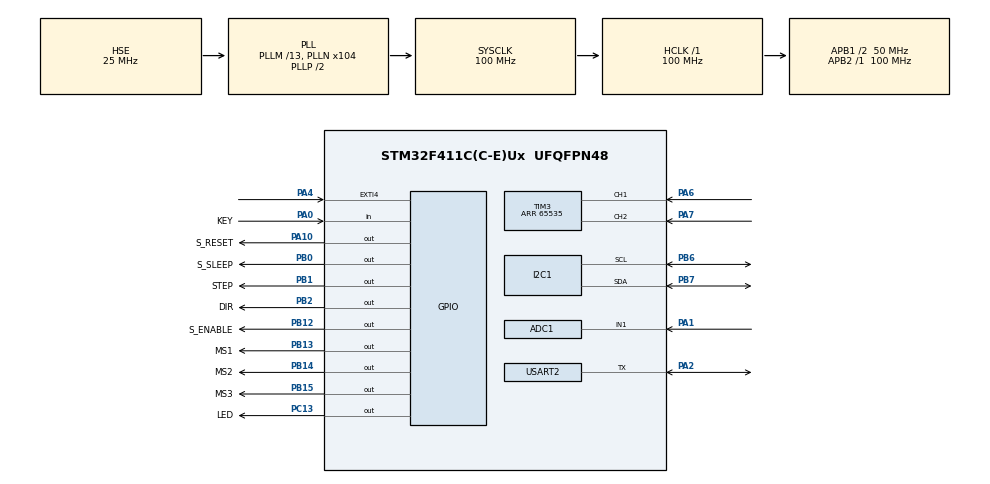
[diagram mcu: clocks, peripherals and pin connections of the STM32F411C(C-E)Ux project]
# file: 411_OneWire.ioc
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ADC1.Channel-0\#ChannelRegularConversion=ADC_CHANNEL_1
ADC1.NbrOfConversionFlag=1
ADC1.Rank-0\#ChannelRegularConversion=1
ADC1.SamplingTime-0\#ChannelRegularConversion=ADC_SAMPLETIME_3CYCLES
ADC1.master=1
I2C1.I2C_Mode=I2C_Fast
Mcu.Family=STM32F4
Mcu.Name=STM32F411C(C-E)Ux
Mcu.Package=UFQFPN48
NVIC.EXTI4_IRQn=true\:0\:0\:false\:false\:true\:true\:true\:true
NVIC.PriorityGroup=NVIC_PRIORITYGROUP_4
NVIC.TIM3_IRQn=true\:0\:0\:false\:false\:true\:true\:true\:true
NVIC.USART2_IRQn=true\:0\:0\:false\:false\:true\:true\:true\:true
PA0-WKUP.GPIO_Label=KEY
PA0-WKUP.Signal=GPIO_Input
PA1.Signal=ADCx_IN1
PA10.GPIO_Label=S_RESET
PA10.Signal=GPIO_Output
PA13.Mode=Serial_Wire
PA13.Signal=SYS_JTMS-SWDIO
PA14.Mode=Serial_Wire
PA14.Signal=SYS_JTCK-SWCLK
PA2.Mode=Half_duplex(single_wire_mode)
PA2.Signal=USART2_TX
PA4.GPIO_ModeDefaultEXTI=GPIO_MODE_IT_FALLING
PA4.Signal=GPXTI4
PA6.Signal=S_TIM3_CH1
PA7.Signal=S_TIM3_CH2
PB0.GPIO_Label=S_SLEEP
PB0.Signal=GPIO_Output
PB1.GPIO_Label=STEP
PB1.Signal=GPIO_Output
PB12.GPIO_Label=S_ENABLE
PB12.Signal=GPIO_Output
PB13.GPIO_Label=MS1
PB13.Signal=GPIO_Output
PB14.GPIO_Label=MS2
PB14.Signal=GPIO_Output
PB15.GPIO_Label=MS3
PB15.Signal=GPIO_Output
PB2.GPIO_Label=DIR
PB2.Signal=GPIO_Output
PB3.Signal=SYS_JTDO-SWO
PB4.Signal=SYS_JTRST
PB6.Mode=I2C
PB6.Signal=I2C1_SCL
PB7.Mode=I2C
PB7.Signal=I2C1_SDA
PC13-ANTI_TAMP.GPIO_Label=LED
PC13-ANTI_TAMP.Signal=GPIO_Output
PC14-OSC32_IN.Mode=LSE-External-Oscillator
PC14-OSC32_IN.Signal=RCC_OSC32_IN
PC15-OSC32_OUT.Mode=LSE-External-Oscillator
PC15-OSC32_OUT.Signal=RCC_OSC32_OUT
PH0\ -\ OSC_IN.Mode=HSE-External-Oscillator
PH0\ -\ OSC_IN.Signal=RCC_OSC_IN
PH1\ -\ OSC_OUT.Mode=HSE-External-Oscillator
PH1\ -\ OSC_OUT.Signal=RCC_OSC_OUT
ProjectManager.HeapSize=0x200
ProjectManager.StackSize=0x400
ProjectManager.TargetToolchain=STM32CubeIDE
RCC.48MHZClocksFreq_Value=50000000
RCC.AHBFreq_Value=100000000
RCC.APB1CLKDivider=RCC_HCLK_DIV2
RCC.APB1Freq_Value=50000000
RCC.APB1TimFreq_Value=100000000
RCC.APB2Freq_Value=100000000
RCC.APB2TimFreq_Value=100000000
RCC.CortexFreq_Value=100000000
RCC.HCLKFreq_Value=100000000
RCC.HSE_VALUE=25000000
RCC.HSI_VALUE=16000000
RCC.PLLM=13
RCC.PLLN=104
RCC.PLLSourceVirtual=RCC_PLLSOURCE_HSE
RCC.SYSCLKFreq_VALUE=100000000
RCC.SYSCLKSource=RCC_SYSCLKSOURCE_PLLCLK
RCC.VCOOutputFreq_Value=200000000
SH.ADCx_IN1.0=ADC1_IN1,IN1
SH.S_TIM3_CH1.0=TIM3_CH1,Encoder_Interface
SH.S_TIM3_CH2.0=TIM3_CH2,Encoder_Interface
TIM3.AutoReloadPreload=TIM_AUTORELOAD_PRELOAD_ENABLE
TIM3.IC1Filter=2
TIM3.Period=65535
USART2.VirtualMode=VM_ASYNC
board=custom

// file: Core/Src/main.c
/* USER CODE BEGIN Header */
/**

TODO:
-	iButton interface

Vmot remeasured on PA1 named ADC1_IN1

field feedback measured on PA2 named ADC_IN2

OLED SSD1306
	Resolution: 128 x 64
	Input Voltage: 3.3V ~ 6V
	SDA on PB7 named I2C1_SDA
	SCL on PB6 named I2C1_SCL

BlackPill onboard Blue LED on PC13 named LED

BlackPill onboard button on PA0 named KEY

Optical encoder
	channel one on PA6 named TIM3_CH1
	channel two on PA7 named TIM3_CH2

A4988 stepper motor driver with chopping killed
	S_ENABLE	on	PB12
	MS1			on	PB13
	MS2			on	PB14
	MS3			on	PB15
	S_RESET		on	PA10
	S_SLEEP		on	B0
	STEP		on	B1
	DIR			on	B2
	The step limit is in the "counter_limit" constant.

1-Wire interface on USART2
	OW	on 	PA2	named	USART2_TX
	SN: 01/0000129A55D6/F3

RS232 on
	tx	on  PA11	named USART6_TX
	rx	on  PA12	named USART6_RX

OneWire timing
standard / overdrive
A 6 / 1.0
B 64 / 7.5
C 60 / 7.5
D 10 / 2.5
E 9 / 1.0
F 55 / 7
G 0 / 2.5
H 480 / 70
I 70 / 8.5
J 410 / 40

  */
/* USER CODE END Header */
#include "main.h"

/* USER CODE BEGIN Includes */
#include "ssd1306.h"
#include "fonts.h"
#include "test.h"
#include "stdio.h"
#include "OneWire.h"
/* USER CODE END Includes */

ADC_HandleTypeDef hadc1;

I2C_HandleTypeDef hi2c1;

TIM_HandleTypeDef htim3;

UART_HandleTypeDef huart2;

/* USER CODE BEGIN PV */

OledHandleTypedef oled = {
  .type = SH1106_I2C,        // SH1106 or SSD1306
  .orientation = 1,           // 1: downward 0: upward
  .i2c = &hi2c1,              // I2C1 at RB9/RB8
  .i2c_address = 0x78         // 0x78 (0x3c<<1) or 0x7A (0x3D<<1)
};

uint16_t size;
uint8_t Data[256];
int count=0;
int motor_position =0;
char text[10] = "empty",spi_out_buf[10]="",spi_in_buf[10]="";
int raw;
float voltage;
uint32_t counter = 0;
int16_t counter_position = 0;
uint32_t us_delay = 0;
const int counter_limit=15300; // put maximum counter value here
int rec_rom_id;

/* USER CODE END PV */

void SystemClock_Config(void);
static void MX_GPIO_Init(void);
static void MX_I2C1_Init(void);
static void MX_ADC1_Init(void);
static void MX_TIM3_Init(void);
static void MX_USART2_UART_Init(void);

/* USER CODE BEGIN 0 */
extern float Temp[MAXDEVICES_ON_THE_BUS];

void HAL_TIM_IC_CaptureCallback (TIM_HandleTypeDef *htim)
{
	counter = __HAL_TIM_GET_COUNTER(htim) / 2;
	if (counter > 30000)
	{
		__HAL_TIM_SetCounter(&htim3,0);
		counter=0;
	}
	if (counter > counter_limit)
	{
		__HAL_TIM_SetCounter(&htim3, counter_limit * 2);
		counter=counter_limit;
	}
	counter_position = (int16_t)counter;
}
/* USER CODE END 0 */

int main(void)
{

  /* MCU Configuration--------------------------------------------------------*/

  /* Reset of all peripherals, Initializes the Flash interface and the Systick. */
  HAL_Init();

  /* Configure the system clock */
  SystemClock_Config();

  /* Initialize all configured peripherals */
  MX_GPIO_Init();
  MX_I2C1_Init();
  MX_ADC1_Init();
  MX_TIM3_Init();
  MX_USART2_UART_Init();
  /* USER CODE BEGIN 2 */

  HAL_TIM_Encoder_Start_IT (&htim3, TIM_CHANNEL_ALL   );
  /* Initialize stepper motor controller */
  HAL_GPIO_WritePin(MS1_GPIO_Port, MS1_Pin, GPIO_PIN_RESET); // set high for half step
  HAL_GPIO_WritePin(MS2_GPIO_Port, MS2_Pin, GPIO_PIN_RESET); // set for microstep
  HAL_GPIO_WritePin(MS3_GPIO_Port, MS3_Pin, GPIO_PIN_RESET); // set for microstep
  HAL_GPIO_WritePin(S_SLEEP_GPIO_Port, S_SLEEP_Pin, GPIO_PIN_SET);
  HAL_GPIO_WritePin(S_ENABLE_GPIO_Port, S_ENABLE_Pin, GPIO_PIN_SET);
  HAL_GPIO_WritePin(STEP_GPIO_Port, STEP_Pin, GPIO_PIN_SET);
  HAL_GPIO_WritePin(DIR_GPIO_Port, DIR_Pin, GPIO_PIN_SET);
  HAL_GPIO_WritePin(S_RESET_GPIO_Port, S_RESET_Pin, GPIO_PIN_RESET);
  HAL_Delay(100);
  HAL_GPIO_WritePin(S_RESET_GPIO_Port, S_RESET_Pin, GPIO_PIN_SET);

// OLED init
  SSD1306_Init(&oled);
  SSD1306_GotoXY(0, 0);
  SSD1306_Puts("SH1106", &Font_11x18, SSD1306_COLOR_WHITE);
  HAL_ADC_Start(&hadc1);
  HAL_ADC_PollForConversion(&hadc1, HAL_MAX_DELAY);
  raw = HAL_ADC_GetValue(&hadc1);
  voltage = raw /  187.3 ; // Umcu = 3.375V
  sprintf(text, "%1.2f", voltage);
  SSD1306_GotoXY (0, 20);
  SSD1306_Puts (text, &Font_11x18, 1);
  SSD1306_Puts ("V", &Font_11x18, 1);
//  SSD1306_dim(127);
  SSD1306_UpdateScreen(); // update screen
  HAL_Delay(1000);

  /* USER CODE END 2 */

  /* Infinite loop */
  while (1)
  {

    /* USER CODE BEGIN 3 */
	  HAL_GPIO_WritePin(LED_GPIO_Port, LED_Pin, GPIO_PIN_SET);
	  while (motor_position != counter_position)
	  {
		  HAL_GPIO_WritePin(S_ENABLE_GPIO_Port, S_ENABLE_Pin, GPIO_PIN_RESET);
		  HAL_GPIO_WritePin(LED_GPIO_Port, LED_Pin, GPIO_PIN_RESET);
		  if (motor_position < counter_position)
		  {

			  HAL_GPIO_WritePin(DIR_GPIO_Port, DIR_Pin, GPIO_PIN_SET);
			  HAL_GPIO_WritePin(STEP_GPIO_Port, STEP_Pin, GPIO_PIN_SET);
			  motor_position = motor_position + 1 ;
			  HAL_GPIO_WritePin(STEP_GPIO_Port, STEP_Pin, GPIO_PIN_RESET);
			  us_delay = 7500;
			  while (us_delay) { us_delay = us_delay - 1;}
		  }
		  else
		  {

			  HAL_GPIO_WritePin(DIR_GPIO_Port, DIR_Pin, GPIO_PIN_RESET);
			  HAL_GPIO_WritePin(STEP_GPIO_Port, STEP_Pin, GPIO_PIN_SET);
			  motor_position = motor_position - 1 ;
			  HAL_GPIO_WritePin(STEP_GPIO_Port, STEP_Pin, GPIO_PIN_RESET);
			  us_delay = 7500;
			  while (us_delay) { us_delay = us_delay - 1;}
		  }
		  HAL_GPIO_WritePin(LED_GPIO_Port, LED_Pin, GPIO_PIN_SET);
//		  HAL_GPIO_WritePin(S_ENABLE_GPIO_Port, S_ENABLE_Pin, GPIO_PIN_SET);
	  }

//	  sprintf(text, "%5i", counter_position);
//	  SSD1306_GotoXY(0, 30);
//	  SSD1306_Puts (text, &Font_11x18, 1);
//	  SSD1306_UpdateScreen();

	  rec_rom_id = get_ROMid();
	  SSD1306_Fill(0);
	  SSD1306_GotoXY(0, 0);
//	  sprintf(text, "%s %u", ow.ids);
	  //sprintf(textout1, "%s %u", name1, var1);
	  SSD1306_Puts (text, &Font_11x18, 1);
	  SSD1306_UpdateScreen();

	  HAL_Delay (1000);

  }
  /* USER CODE END 3 */
}

void SystemClock_Config(void)
{
  RCC_OscInitTypeDef RCC_OscInitStruct = {0};
  RCC_ClkInitTypeDef RCC_ClkInitStruct = {0};

  /** Configure the main internal regulator output voltage
  */
  __HAL_RCC_PWR_CLK_ENABLE();
  __HAL_PWR_VOLTAGESCALING_CONFIG(PWR_REGULATOR_VOLTAGE_SCALE1);

  /** Initializes the RCC Oscillators according to the specified parameters
  * in the RCC_OscInitTypeDef structure.
  */
  RCC_OscInitStruct.OscillatorType = RCC_OSCILLATORTYPE_HSE;
  RCC_OscInitStruct.HSEState = RCC_HSE_ON;
  RCC_OscInitStruct.PLL.PLLState = RCC_PLL_ON;
  RCC_OscInitStruct.PLL.PLLSource = RCC_PLLSOURCE_HSE;
  RCC_OscInitStruct.PLL.PLLM = 13;
  RCC_OscInitStruct.PLL.PLLN = 104;
  RCC_OscInitStruct.PLL.PLLP = RCC_PLLP_DIV2;
  RCC_OscInitStruct.PLL.PLLQ = 4;
  if (HAL_RCC_OscConfig(&RCC_OscInitStruct) != HAL_OK)
  {
    Error_Handler();
  }

  /** Initializes the CPU, AHB and APB buses clocks
  */
  RCC_ClkInitStruct.ClockType = RCC_CLOCKTYPE_HCLK|RCC_CLOCKTYPE_SYSCLK
                              |RCC_CLOCKTYPE_PCLK1|RCC_CLOCKTYPE_PCLK2;
  RCC_ClkInitStruct.SYSCLKSource = RCC_SYSCLKSOURCE_PLLCLK;
  RCC_ClkInitStruct.AHBCLKDivider = RCC_SYSCLK_DIV1;
  RCC_ClkInitStruct.APB1CLKDivider = RCC_HCLK_DIV2;
  RCC_ClkInitStruct.APB2CLKDivider = RCC_HCLK_DIV1;

  if (HAL_RCC_ClockConfig(&RCC_ClkInitStruct, FLASH_LATENCY_3) != HAL_OK)
  {
    Error_Handler();
  }
}

static void MX_ADC1_Init(void)
{

  ADC_ChannelConfTypeDef sConfig = {0};

  /** Configure the global features of the ADC (Clock, Resolution, Data Alignment and number of conversion)
  */
  hadc1.Instance = ADC1;
  hadc1.Init.ClockPrescaler = ADC_CLOCK_SYNC_PCLK_DIV4;
  hadc1.Init.Resolution = ADC_RESOLUTION_12B;
  hadc1.Init.ScanConvMode = DISABLE;
  hadc1.Init.ContinuousConvMode = DISABLE;
  hadc1.Init.DiscontinuousConvMode = DISABLE;
  hadc1.Init.ExternalTrigConvEdge = ADC_EXTERNALTRIGCONVEDGE_NONE;
  hadc1.Init.ExternalTrigConv = ADC_SOFTWARE_START;
  hadc1.Init.DataAlign = ADC_DATAALIGN_RIGHT;
  hadc1.Init.NbrOfConversion = 1;
  hadc1.Init.DMAContinuousRequests = DISABLE;
  hadc1.Init.EOCSelection = ADC_EOC_SINGLE_CONV;
  if (HAL_ADC_Init(&hadc1) != HAL_OK)
  {
    Error_Handler();
  }

  /** Configure for the selected ADC regular channel its corresponding rank in the sequencer and its sample time.
  */
  sConfig.Channel = ADC_CHANNEL_1;
  sConfig.Rank = 1;
  sConfig.SamplingTime = ADC_SAMPLETIME_3CYCLES;
  if (HAL_ADC_ConfigChannel(&hadc1, &sConfig) != HAL_OK)
  {
    Error_Handler();
  }

}

static void MX_I2C1_Init(void)
{

  hi2c1.Instance = I2C1;
  hi2c1.Init.ClockSpeed = 400000;
  hi2c1.Init.DutyCycle = I2C_DUTYCYCLE_2;
  hi2c1.Init.OwnAddress1 = 0;
  hi2c1.Init.AddressingMode = I2C_ADDRESSINGMODE_7BIT;
  hi2c1.Init.DualAddressMode = I2C_DUALADDRESS_DISABLE;
  hi2c1.Init.OwnAddress2 = 0;
  hi2c1.Init.GeneralCallMode = I2C_GENERALCALL_DISABLE;
  hi2c1.Init.NoStretchMode = I2C_NOSTRETCH_DISABLE;
  if (HAL_I2C_Init(&hi2c1) != HAL_OK)
  {
    Error_Handler();
  }

}

static void MX_TIM3_Init(void)
{

  TIM_Encoder_InitTypeDef sConfig = {0};
  TIM_MasterConfigTypeDef sMasterConfig = {0};

  htim3.Instance = TIM3;
  htim3.Init.Prescaler = 0;
  htim3.Init.CounterMode = TIM_COUNTERMODE_UP;
  htim3.Init.Period = 65535;
  htim3.Init.ClockDivision = TIM_CLOCKDIVISION_DIV1;
  htim3.Init.AutoReloadPreload = TIM_AUTORELOAD_PRELOAD_ENABLE;
  sConfig.EncoderMode = TIM_ENCODERMODE_TI1;
  sConfig.IC1Polarity = TIM_ICPOLARITY_RISING;
  sConfig.IC1Selection = TIM_ICSELECTION_DIRECTTI;
  sConfig.IC1Prescaler = TIM_ICPSC_DIV1;
  sConfig.IC1Filter = 2;
  sConfig.IC2Polarity = TIM_ICPOLARITY_RISING;
  sConfig.IC2Selection = TIM_ICSELECTION_DIRECTTI;
  sConfig.IC2Prescaler = TIM_ICPSC_DIV1;
  sConfig.IC2Filter = 0;
  if (HAL_TIM_Encoder_Init(&htim3, &sConfig) != HAL_OK)
  {
    Error_Handler();
  }
  sMasterConfig.MasterOutputTrigger = TIM_TRGO_RESET;
  sMasterConfig.MasterSlaveMode = TIM_MASTERSLAVEMODE_DISABLE;
  if (HAL_TIMEx_MasterConfigSynchronization(&htim3, &sMasterConfig) != HAL_OK)
  {
    Error_Handler();
  }

}

static void MX_USART2_UART_Init(void)
{

  huart2.Instance = USART2;
  huart2.Init.BaudRate = 115200;
  huart2.Init.WordLength = UART_WORDLENGTH_8B;
  huart2.Init.StopBits = UART_STOPBITS_1;
  huart2.Init.Parity = UART_PARITY_NONE;
  huart2.Init.Mode = UART_MODE_TX_RX;
  huart2.Init.HwFlowCtl = UART_HWCONTROL_NONE;
  huart2.Init.OverSampling = UART_OVERSAMPLING_16;
  if (HAL_HalfDuplex_Init(&huart2) != HAL_OK)
  {
    Error_Handler();
  }

}

static void MX_GPIO_Init(void)
{
  GPIO_InitTypeDef GPIO_InitStruct = {0};

  /* GPIO Ports Clock Enable */
  __HAL_RCC_GPIOC_CLK_ENABLE();
  __HAL_RCC_GPIOH_CLK_ENABLE();
  __HAL_RCC_GPIOA_CLK_ENABLE();
  __HAL_RCC_GPIOB_CLK_ENABLE();

  /*Configure GPIO pin Output Level */
  HAL_GPIO_WritePin(LED_GPIO_Port, LED_Pin, GPIO_PIN_RESET);

  /*Configure GPIO pin Output Level */
  HAL_GPIO_WritePin(GPIOB, S_SLEEP_Pin|STEP_Pin|DIR_Pin|S_ENABLE_Pin
                          |MS1_Pin|MS2_Pin|MS3_Pin, GPIO_PIN_RESET);

  /*Configure GPIO pin Output Level */
  HAL_GPIO_WritePin(S_RESET_GPIO_Port, S_RESET_Pin, GPIO_PIN_RESET);

  /*Configure GPIO pin : LED_Pin */
  GPIO_InitStruct.Pin = LED_Pin;
  GPIO_InitStruct.Mode = GPIO_MODE_OUTPUT_PP;
  GPIO_InitStruct.Pull = GPIO_NOPULL;
  GPIO_InitStruct.Speed = GPIO_SPEED_FREQ_LOW;
  HAL_GPIO_Init(LED_GPIO_Port, &GPIO_InitStruct);

  /*Configure GPIO pin : KEY_Pin */
  GPIO_InitStruct.Pin = KEY_Pin;
  GPIO_InitStruct.Mode = GPIO_MODE_INPUT;
  GPIO_InitStruct.Pull = GPIO_NOPULL;
  HAL_GPIO_Init(KEY_GPIO_Port, &GPIO_InitStruct);

  /*Configure GPIO pin : PA4 */
  GPIO_InitStruct.Pin = GPIO_PIN_4;
  GPIO_InitStruct.Mode = GPIO_MODE_IT_FALLING;
  GPIO_InitStruct.Pull = GPIO_NOPULL;
  HAL_GPIO_Init(GPIOA, &GPIO_InitStruct);

  /*Configure GPIO pins : S_SLEEP_Pin STEP_Pin DIR_Pin S_ENABLE_Pin
                           MS1_Pin MS2_Pin MS3_Pin */
  GPIO_InitStruct.Pin = S_SLEEP_Pin|STEP_Pin|DIR_Pin|S_ENABLE_Pin
                          |MS1_Pin|MS2_Pin|MS3_Pin;
  GPIO_InitStruct.Mode = GPIO_MODE_OUTPUT_PP;
  GPIO_InitStruct.Pull = GPIO_NOPULL;
  GPIO_InitStruct.Speed = GPIO_SPEED_FREQ_LOW;
  HAL_GPIO_Init(GPIOB, &GPIO_InitStruct);

  /*Configure GPIO pin : S_RESET_Pin */
  GPIO_InitStruct.Pin = S_RESET_Pin;
  GPIO_InitStruct.Mode = GPIO_MODE_OUTPUT_PP;
  GPIO_InitStruct.Pull = GPIO_NOPULL;
  GPIO_InitStruct.Speed = GPIO_SPEED_FREQ_LOW;
  HAL_GPIO_Init(S_RESET_GPIO_Port, &GPIO_InitStruct);

  /* EXTI interrupt init*/
  HAL_NVIC_SetPriority(EXTI4_IRQn, 0, 0);
  HAL_NVIC_EnableIRQ(EXTI4_IRQn);

}

void Error_Handler(void)
{
  __disable_irq();
  while (1)
  {
  }
}
